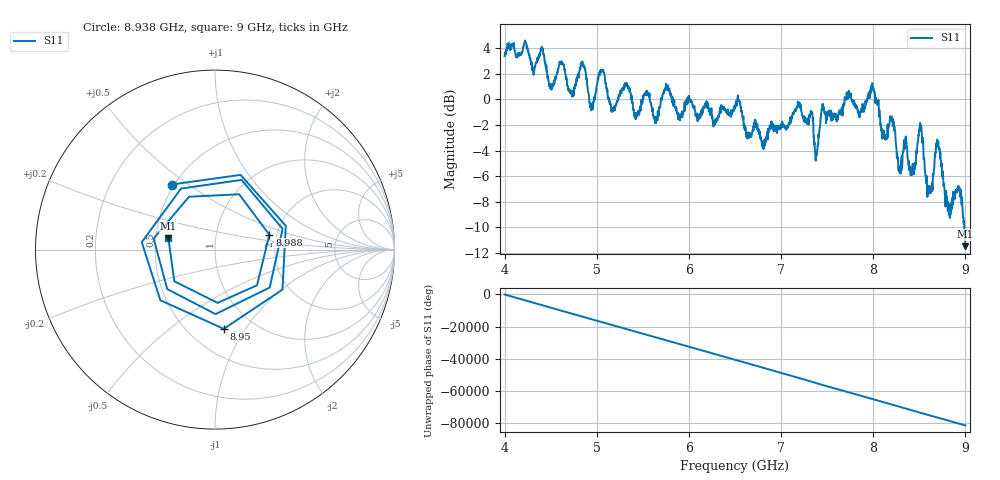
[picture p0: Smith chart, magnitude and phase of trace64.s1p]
! Created with skrf 1.8.0 (http://scikit-rf.org).
# Hz S RI R 50.0
!freq ReS11 ImS11
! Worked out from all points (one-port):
!   1601 points, 4 GHz to 9 GHz, reference 50 ohm
!   lowest |S11| = -11.5 dB at 9 GHz (marker M1), VSWR 1.73, Z = 29.2 + j3.94 ohm
!   |S11| at or under -10 dB: 8.987571 GHz to end of sweep
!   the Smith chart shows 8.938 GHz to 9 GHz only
!   S11 on the Smith chart (normalised r, x): 8.938 GHz: 0.48, +0.43; 8.95 GHz: 0.73, -0.80; 8.988 GHz: 1.83, +0.34; 9 GHz: 0.58, +0.08
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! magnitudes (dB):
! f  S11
! 4 GHz  3.4
! 4.625 GHz  2.9
! 4.728 GHz  0.7
! 4.85 GHz  2.7
! 4.941 GHz  -0.9
! 5.047 GHz  2.1
! 5.25 GHz  0.4
! 5.875 GHz  -1.0
! 6.5 GHz  -0.5
! 6.806 GHz  -3.7
! 7.125 GHz  -1.1
! 7.325 GHz  -0.9
! 7.384 GHz  -4.3
! 7.453 GHz  -0.3
! 7.75 GHz  0.2
! 7.994 GHz  1.1
! 8.112 GHz  -2.4
! 8.209 GHz  -1.5
! 8.281 GHz  -5.7
! 8.375 GHz  -4.7
! 8.516 GHz  -2.4
! 8.609 GHz  -6.9
! 8.697 GHz  -3.4
! 8.819 GHz  -8.1
! 8.938 GHz  -7.2
! 8.95 GHz  -7.1
! 8.988 GHz  -10.1
! 9 GHz  -11.5
